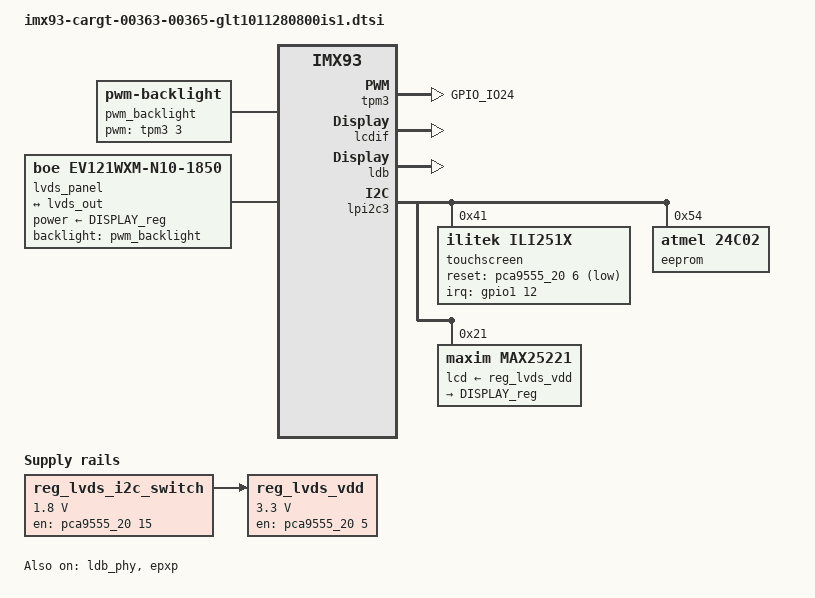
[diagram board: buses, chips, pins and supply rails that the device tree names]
 / {
 
	pwm_backlight: pwm_backlight {
		compatible = "pwm-backlight";
		pwms = <&tpm3 3 5000000 0>; // 200 Hz
		brightness-levels = <0 100>;
		num-interpolated-steps = <100>;
		default-brightness-level = <80>;
		status = "okay";
	};
	
	gpio_backlight: gpio_backlight {
		compatible = "gpio-backlight";
		pinctrl-names = "default";
		pinctrl-0 = <&pinctrl_backlight_gpio>;
		gpios = <&gpio2 24 GPIO_ACTIVE_HIGH>;
		default-on;
		status = "disabled";
	};

	reg_lvds_i2c_switch: regulator-lvds-i2c-switch {
		compatible = "regulator-fixed";
		regulator-name = "lvds_i2c_sw";
		regulator-min-microvolt = <1800000>;
		regulator-max-microvolt = <1800000>;
		gpio = <&pca9555_20 15 GPIO_ACTIVE_HIGH>;
		enable-active-high;
		regulator-always-on;
		status = "okay";
	};	

	reg_lvds_vdd: regulator-lvds-vdd {
		compatible = "regulator-fixed";
		regulator-name = "lvds_vdd";
		regulator-min-microvolt = <3300000>;
		regulator-max-microvolt = <3300000>;
		gpio = <&pca9555_20 5 GPIO_ACTIVE_HIGH>;
		enable-active-high;
		regulator-always-on;
		vin-supply = <&reg_lvds_i2c_switch>;
		status = "okay";
	};

	lvds_panel {
		compatible = "boe,ev121wxm-n10-1850";
		backlight = <&pwm_backlight>;		
		power-supply = <&DISPLAY_reg>;

		port {
			panel_lvds_in: endpoint {
				remote-endpoint = <&lvds_out>;
			};
		};
	};
  };
 
&tpm3 {
	pinctrl-names = "default";
	pinctrl-0 = <&pinctrl_backlight_pwm>;
	status = "okay";
 };
 
 &dphy {
	 status = "disabled";
 };
 
 &dsi {
	 status = "disabled";
 };
 
 &lcdif {
	assigned-clock-rates = <498000000>, <71142857>, <400000000>, <133333333>;
	status = "okay";
 };
 
 &ldb {
	 status = "okay";
 
	 lvds-channel@0 {
		 status = "okay";
 
		 port@1 {
			 reg = <1>;
 
			 lvds_out: endpoint {
				 remote-endpoint = <&panel_lvds_in>;
			 };
		 };
	 };
 };
 
 &ldb_phy {
	 status = "okay";
 };
 
 &lpi2c3 {
	touchscreen@41 {
		compatible = "ilitek,ili251x";
		reg = <0x41>;
		pinctrl-names = "default";
		pinctrl-0 = <&pinctrl_cap_touch>;
		interrupt-parent = <&gpio1>;
		interrupts = <12 IRQ_TYPE_EDGE_FALLING>;
		reset-gpios = <&pca9555_20 6 GPIO_ACTIVE_LOW>;
		status = "okay";
	};

	/* eeprom on display */
	eeprom@54 {
		compatible = "atmel,24c02";
		reg = <0x54>;
		pagesize = <16>;		
	};

	max25221: max25221@21 {
		compatible = "maxim,max25221";
		reg = <0x21>;
		lcd-supply = <&reg_lvds_vdd>;
		status = "okay";

		regulators {
			DISPLAY_reg: DISPLAY {
				regulator-name = "DISPLAY";
			};
		};
	};
 };
 
 
 
 &iomuxc {
 
	pinctrl_cap_touch: cap_touch {
		 fsl,pins = <
		 	MX93_PAD_SAI1_TXC__GPIO1_IO12 	0x31e	/* PCAP_LVDS_nINT */
		 >;
	 };
 
 	pinctrl_backlight_pwm: backlight-pwmgrp {
		 fsl,pins = <			    
			MX93_PAD_GPIO_IO24__TPM3_CH3		0x2
		>;
	};

	pinctrl_backlight_gpio: backlight-gpiogrp {
		fsl,pins = <
			MX93_PAD_GPIO_IO24__GPIO2_IO24		0x31e
		>;
	};
 };
 
&epxp {
	status = "okay";
};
